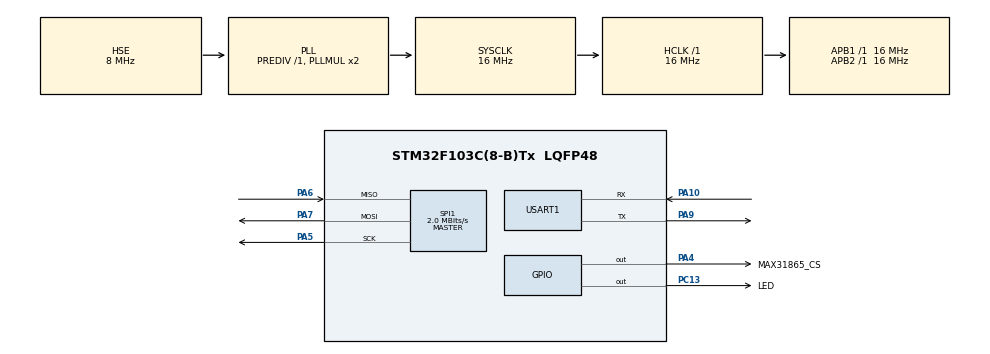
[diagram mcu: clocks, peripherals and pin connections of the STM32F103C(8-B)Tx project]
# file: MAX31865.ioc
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Mcu.Family=STM32F1
Mcu.Name=STM32F103C(8-B)Tx
Mcu.Package=LQFP48
NVIC.PriorityGroup=NVIC_PRIORITYGROUP_4
PA10.Mode=Asynchronous
PA10.Signal=USART1_RX
PA13.Mode=Serial_Wire
PA13.Signal=SYS_JTMS-SWDIO
PA14.Mode=Serial_Wire
PA14.Signal=SYS_JTCK-SWCLK
PA4.GPIO_Label=MAX31865_CS
PA4.Signal=GPIO_Output
PA5.Mode=Full_Duplex_Master
PA5.Signal=SPI1_SCK
PA6.Mode=Full_Duplex_Master
PA6.Signal=SPI1_MISO
PA7.Mode=Full_Duplex_Master
PA7.Signal=SPI1_MOSI
PA9.Mode=Asynchronous
PA9.Signal=USART1_TX
PC13-TAMPER-RTC.GPIO_Label=LED
PC13-TAMPER-RTC.Signal=GPIO_Output
PD0-OSC_IN.Mode=HSE-External-Oscillator
PD0-OSC_IN.Signal=RCC_OSC_IN
PD1-OSC_OUT.Mode=HSE-External-Oscillator
PD1-OSC_OUT.Signal=RCC_OSC_OUT
ProjectManager.HeapSize=0x200
ProjectManager.StackSize=0x400
ProjectManager.TargetToolchain=STM32CubeIDE
RCC.AHBFreq_Value=16000000
RCC.APB1Freq_Value=16000000
RCC.APB1TimFreq_Value=16000000
RCC.APB2Freq_Value=16000000
RCC.APB2TimFreq_Value=16000000
RCC.HCLKFreq_Value=16000000
RCC.PLLSourceVirtual=RCC_PLLSOURCE_HSE
RCC.SYSCLKFreq_VALUE=16000000
RCC.SYSCLKSource=RCC_SYSCLKSOURCE_PLLCLK
RCC.USBFreq_Value=16000000
SPI1.BaudRatePrescaler=SPI_BAUDRATEPRESCALER_8
SPI1.CLKPhase=SPI_PHASE_2EDGE
SPI1.CalculateBaudRate=2.0 MBits/s
SPI1.Direction=SPI_DIRECTION_2LINES
SPI1.Mode=SPI_MODE_MASTER
SPI1.VirtualType=VM_MASTER
USART1.VirtualMode=VM_ASYNC
board=custom

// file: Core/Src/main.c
/* USER CODE BEGIN Header */
/**
  ******************************************************************************
  * @file           : main.c
  * @brief          : Main program body
  ******************************************************************************
  * @attention
  *
  * Copyright (c) 2025 STMicroelectronics.
  * All rights reserved.
  *
  * This software is licensed under terms that can be found in the LICENSE file
  * in the root directory of this software component.
  * If no LICENSE file comes with this software, it is provided AS-IS.
  *
  ******************************************************************************
  */
/* USER CODE END Header */
#include "main.h"
#include "spi.h"
#include "usart.h"
#include "gpio.h"

/* USER CODE BEGIN Includes */
#include "max31865.h"
#include <stdio.h>
#include <string.h>
/* USER CODE END Includes */

/* USER CODE BEGIN PD */
#define RREF_VALUE      430.0f      // 430 ohm for PT100
#define RNOMINAL_VALUE  100.0f      // PT100 nominal resistance
/* USER CODE END PD */

/* USER CODE BEGIN PV */
MAX31865_Handle_t hmax31865;
/* USER CODE END PV */

void SystemClock_Config(void);
/* USER CODE BEGIN PFP */
/* Platform Integration Functions for MAX31865 */
max31865_status_t stm32_spi_write_read(MAX31865_Handle_t *hmax, uint8_t *tx_data, uint8_t *rx_data, uint16_t size);
void stm32_cs_low(MAX31865_Handle_t *hmax);
void stm32_cs_high(MAX31865_Handle_t *hmax);
void stm32_delay_ms(uint32_t ms);

/* Application Functions */
void MAX31865_Test(void);
int _write(int file, char *ptr, int len);
/* USER CODE END PFP */

/* USER CODE BEGIN 0 */
/**
 * @brief STM32 HAL SPI Write/Read function for MAX31865
 */
max31865_status_t stm32_spi_write_read(MAX31865_Handle_t *hmax, uint8_t *tx_data, uint8_t *rx_data, uint16_t size) {
    HAL_StatusTypeDef hal_status;

    if (size == 1) {
        // Write only (register address)
        hal_status = HAL_SPI_Transmit(&hspi1, tx_data, 1, HAL_MAX_DELAY);
        if (hal_status != HAL_OK) return MAX31865_TIMEOUT;

        // Read response
        hal_status = HAL_SPI_Receive(&hspi1, rx_data, 1, HAL_MAX_DELAY);
        if (hal_status != HAL_OK) return MAX31865_TIMEOUT;
    } else {
        // TransmitReceive for multi-byte operations
        hal_status = HAL_SPI_TransmitReceive(&hspi1, tx_data, rx_data, size, HAL_MAX_DELAY);
        if (hal_status != HAL_OK) return MAX31865_TIMEOUT;
    }

    return MAX31865_OK;
}

/**
 * @brief Set CS pin low
 */
void stm32_cs_low(MAX31865_Handle_t *hmax) {
    HAL_GPIO_WritePin((GPIO_TypeDef*)hmax->cs_port, hmax->cs_pin, GPIO_PIN_RESET);
}

/**
 * @brief Set CS pin high
 */
void stm32_cs_high(MAX31865_Handle_t *hmax) {
    HAL_GPIO_WritePin((GPIO_TypeDef*)hmax->cs_port, hmax->cs_pin, GPIO_PIN_SET);
}

/**
 * @brief Delay function in milliseconds
 */
void stm32_delay_ms(uint32_t ms) {
    HAL_Delay(ms);
}

/**
 * @brief Redirect printf to UART
 */
int _write(int file, char *ptr, int len) {
    HAL_UART_Transmit(&huart1, (uint8_t*)ptr, len, HAL_MAX_DELAY);
    return len;
}

/**
 * @brief Test MAX31865 functionality
 */
void MAX31865_Test(void) {
    max31865_status_t status;
    float temperature, resistance;
    uint16_t rtd_raw;
    uint8_t fault_status;

    printf("\r\n=== MAX31865 RTD Temperature Sensor Test ===\r\n");

    /* Initialize Platform Interface structure */
    max31865_platform_t platform = {
        .spi_write_read = stm32_spi_write_read,
        .cs_low = stm32_cs_low,
        .cs_high = stm32_cs_high,
        .delay_ms = stm32_delay_ms,
        .platform_data = NULL
    };

    /* Initialize MAX31865 */
    status = MAX31865_Init(&hmax31865, &platform, GPIOA, GPIO_PIN_4,
                          MAX31865_3WIRE, RREF_VALUE, RNOMINAL_VALUE);

    if (status != MAX31865_OK) {
        printf("ERROR: MAX31865 initialization failed! Status: %d\r\n", status);
        return;
    }

    printf("MAX31865 initialized successfully!\r\n");
    printf("Configuration: 3-wire, RREF=%.1f ohm, RNOMINAL=%.1f ohm\r\n",
           RREF_VALUE, RNOMINAL_VALUE);

    /* Set 60Hz filter */
    MAX31865_SetFilter(&hmax31865, MAX31865_FILTER_60HZ);
    printf("Filter set to 60Hz\r\n\r\n");

    /* Main measurement loop */
    for (int i = 0; i < 10; i++) {
        printf("--- Measurement %d ---\r\n", i + 1);

        /* Read raw RTD value */
        status = MAX31865_ReadRTD(&hmax31865, &rtd_raw);
        if (status == MAX31865_OK) {
            printf("RTD Raw Value: %u (0x%04X)\r\n", rtd_raw, rtd_raw);
        } else if (status == MAX31865_FAULT) {
            printf("RTD Fault detected! Raw: %u\r\n", rtd_raw);
        } else {
            printf("ERROR: Failed to read RTD! Status: %d\r\n", status);
            HAL_Delay(1000);
            continue;
        }

        /* Read resistance */
        status = MAX31865_ReadResistance(&hmax31865, &resistance);
        if (status == MAX31865_OK) {
            printf("Resistance: %.3f ohm\r\n", resistance);
        } else {
            printf("ERROR: Failed to read resistance! Status: %d\r\n", status);
        }

        /* Read temperature */
        status = MAX31865_ReadTemperature(&hmax31865, &temperature);
        if (status == MAX31865_OK) {
            printf("Temperature: %.2f C\r\n", temperature);
        } else {
            printf("ERROR: Failed to read temperature! Status: %d\r\n", status);
        }

        /* Check for faults */
        status = MAX31865_ReadFault(&hmax31865, &fault_status);
        if (status == MAX31865_OK) {
            if (fault_status != 0) {
                printf("FAULT STATUS: 0x%02X - %s\r\n",
                       fault_status, MAX31865_GetFaultString(fault_status));

                /* Clear faults */
                MAX31865_ClearFault(&hmax31865);
                printf("Faults cleared.\r\n");
            } else {
                printf("No faults detected.\r\n");
            }
        } else {
            printf("ERROR: Failed to read fault status! Status: %d\r\n", status);
        }

        printf("\r\n");
        HAL_Delay(2000); // Wait 2 seconds between measurements
    }

    printf("=== Test Complete ===\r\n\r\n");
}

/* USER CODE END 0 */

int main(void)
{

  /* MCU Configuration--------------------------------------------------------*/

  /* Reset of all peripherals, Initializes the Flash interface and the Systick. */
  HAL_Init();

  /* Configure the system clock */
  SystemClock_Config();

  /* Initialize all configured peripherals */
  MX_GPIO_Init();
  MX_USART1_UART_Init();
  MX_SPI1_Init();
  /* USER CODE BEGIN 2 */
  printf("\r\n\r\n=== STM32F103C8T6 MAX31865 Test ===\r\n");
  printf("System Clock: %lu Hz\r\n", HAL_RCC_GetHCLKFreq());
  printf("Compiled: %s %s\r\n\r\n", __DATE__, __TIME__);

  /* Run MAX31865 test */
  MAX31865_Test();

  /* USER CODE END 2 */

  /* Infinite loop */
  while (1)
  {

    /* USER CODE BEGIN 3 */
	    /* Continuous temperature monitoring */
	    float temperature;
	    max31865_status_t status;

	    status = MAX31865_ReadTemperature(&hmax31865, &temperature);
	    if (status == MAX31865_OK) {
	        printf("Current Temperature: %.2f C\r\n", temperature);
	    } else {
	        printf("Temperature read error: %d\r\n", status);
	    }
	    HAL_Delay(5000); // Update every 5 seconds
  }
  /* USER CODE END 3 */
}

void SystemClock_Config(void)
{
  RCC_OscInitTypeDef RCC_OscInitStruct = {0};
  RCC_ClkInitTypeDef RCC_ClkInitStruct = {0};

  /** Initializes the RCC Oscillators according to the specified parameters
  * in the RCC_OscInitTypeDef structure.
  */
  RCC_OscInitStruct.OscillatorType = RCC_OSCILLATORTYPE_HSE;
  RCC_OscInitStruct.HSEState = RCC_HSE_ON;
  RCC_OscInitStruct.HSEPredivValue = RCC_HSE_PREDIV_DIV1;
  RCC_OscInitStruct.HSIState = RCC_HSI_ON;
  RCC_OscInitStruct.PLL.PLLState = RCC_PLL_ON;
  RCC_OscInitStruct.PLL.PLLSource = RCC_PLLSOURCE_HSE;
  RCC_OscInitStruct.PLL.PLLMUL = RCC_PLL_MUL2;
  if (HAL_RCC_OscConfig(&RCC_OscInitStruct) != HAL_OK)
  {
    Error_Handler();
  }

  /** Initializes the CPU, AHB and APB buses clocks
  */
  RCC_ClkInitStruct.ClockType = RCC_CLOCKTYPE_HCLK|RCC_CLOCKTYPE_SYSCLK
                              |RCC_CLOCKTYPE_PCLK1|RCC_CLOCKTYPE_PCLK2;
  RCC_ClkInitStruct.SYSCLKSource = RCC_SYSCLKSOURCE_PLLCLK;
  RCC_ClkInitStruct.AHBCLKDivider = RCC_SYSCLK_DIV1;
  RCC_ClkInitStruct.APB1CLKDivider = RCC_HCLK_DIV1;
  RCC_ClkInitStruct.APB2CLKDivider = RCC_HCLK_DIV1;

  if (HAL_RCC_ClockConfig(&RCC_ClkInitStruct, FLASH_LATENCY_0) != HAL_OK)
  {
    Error_Handler();
  }
}

void Error_Handler(void)
{
  __disable_irq();
  while (1)
  {
  }
}
